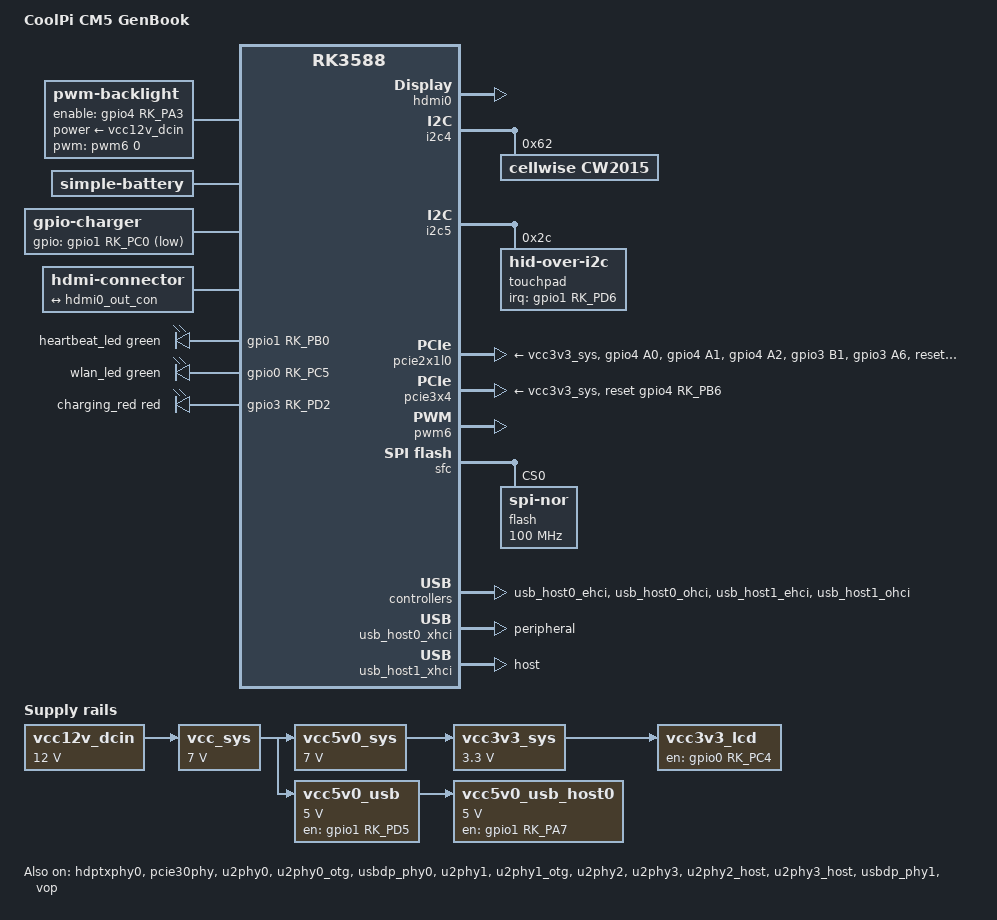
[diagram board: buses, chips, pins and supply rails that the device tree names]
// SPDX-License-Identifier: (GPL-2.0+ OR MIT)
/*
 * Copyright (c) 2024 Rockchip Electronics Co., Ltd.
 *
 */

/dts-v1/;

#include <dt-bindings/leds/common.h>
#include <dt-bindings/soc/rockchip,vop2.h>
#include "rk3588-coolpi-cm5.dtsi"

/ {
	model = "CoolPi CM5 GenBook";
	compatible = "coolpi,pi-cm5-genbook", "coolpi,pi-cm5", "rockchip,rk3588";

	backlight: backlight {
		compatible = "pwm-backlight";
		enable-gpios = <&gpio4 RK_PA3 GPIO_ACTIVE_HIGH>;
		pinctrl-names = "default";
		pinctrl-0 = <&bl_en>;
		power-supply = <&vcc12v_dcin>;
		pwms = <&pwm6 0 25000 0>;
	};

	battery: battery {
		compatible = "simple-battery";
		charge-full-design-microamp-hours = <9800000>;
		voltage-max-design-microvolt = <4350000>;
		voltage-min-design-microvolt = <3000000>;
	};

	charger: dc-charger {
		compatible = "gpio-charger";
		charger-type = "mains";
		gpios = <&gpio1 RK_PC0 GPIO_ACTIVE_LOW>;
	};

	hdmi-con {
		compatible = "hdmi-connector";
		type = "a";

		port {
			hdmi_con_in: endpoint {
				remote-endpoint = <&hdmi0_out_con>;
			};
		};
	};

	leds: leds {
		compatible = "gpio-leds";

		heartbeat_led: led-0 {
			color = <LED_COLOR_ID_GREEN>;
			function = LED_FUNCTION_STATUS;
			gpios = <&gpio1 RK_PB0 GPIO_ACTIVE_HIGH>;
			linux,default-trigger = "heartbeat";
		};

		wlan_led: led-1 {
			color = <LED_COLOR_ID_GREEN>;
			function = LED_FUNCTION_WLAN;
			gpios = <&gpio0 RK_PC5 GPIO_ACTIVE_HIGH>;
		};

		charging_red: led-2 {
			function = LED_FUNCTION_CHARGING;
			color = <LED_COLOR_ID_RED>;
			gpios = <&gpio3 RK_PD2 GPIO_ACTIVE_HIGH>;
		};
	};

	vcc12v_dcin: regulator-vcc12v-dcin {
		compatible = "regulator-fixed";
		regulator-name = "vcc12v_dcin";
		regulator-always-on;
		regulator-boot-on;
		regulator-min-microvolt = <12000000>;
		regulator-max-microvolt = <12000000>;
	};

	vcc_sys: regulator-vcc-sys {
		compatible = "regulator-fixed";
		regulator-name = "vcc_sys";
		regulator-always-on;
		regulator-boot-on;
		regulator-min-microvolt = <7000000>;
		regulator-max-microvolt = <7000000>;
		vin-supply = <&vcc12v_dcin>;
	};

	vcc5v0_sys: regulator-vcc5v0-sys {
		compatible = "regulator-fixed";
		regulator-name = "vcc5v0_sys";
		regulator-always-on;
		regulator-boot-on;
		regulator-min-microvolt = <7000000>;
		regulator-max-microvolt = <7000000>;
		vin-supply = <&vcc_sys>;
	};

	vcc3v3_sys: regulator-vcc3v3-sys {
		compatible = "regulator-fixed";
		regulator-name = "vcc3v3_sys";
		regulator-always-on;
		regulator-boot-on;
		regulator-min-microvolt = <3300000>;
		regulator-max-microvolt = <3300000>;
		vin-supply = <&vcc5v0_sys>;
	};

	vcc3v3_lcd: regulator-vcc3v3-lcd {
		compatible = "regulator-fixed";
		regulator-name = "vcc3v3_lcd";
		enable-active-high;
		gpio = <&gpio0 RK_PC4 GPIO_ACTIVE_HIGH>;
		pinctrl-names = "default";
		pinctrl-0 = <&lcdpwr_en>;
		vin-supply = <&vcc3v3_sys>;
	};

	vcc5v0_usb: regulator-vcc5v0-usb {
		compatible = "regulator-fixed";
		regulator-name = "vcc5v0_usb";
		regulator-boot-on;
		regulator-always-on;
		enable-active-high;
		regulator-min-microvolt = <5000000>;
		regulator-max-microvolt = <5000000>;
		gpio = <&gpio1 RK_PD5 GPIO_ACTIVE_HIGH>;
		pinctrl-names = "default";
		pinctrl-0 = <&usb_pwren>;
		vin-supply = <&vcc_sys>;
	};

	vcc5v0_usb_host0: vcc5v0_usb30_host: regulator-vcc5v0-usb-host {
		compatible = "regulator-fixed";
		regulator-name = "vcc5v0_host";
		regulator-boot-on;
		regulator-always-on;
		enable-active-high;
		regulator-min-microvolt = <5000000>;
		regulator-max-microvolt = <5000000>;
		gpio = <&gpio1 RK_PA7 GPIO_ACTIVE_HIGH>;
		pinctrl-names = "default";
		pinctrl-0 = <&usb_host_pwren>;
		vin-supply = <&vcc5v0_usb>;
	};
};

/* HDMI CEC is not used */
&hdmi0 {
	pinctrl-0 = <&hdmim0_tx0_hpd &hdmim0_tx0_scl &hdmim0_tx0_sda>;
	status = "okay";
};

&hdmi0_in {
	hdmi0_in_vp0: endpoint {
		remote-endpoint = <&vp0_out_hdmi0>;
	};
};

&hdmi0_out {
	hdmi0_out_con: endpoint {
		remote-endpoint = <&hdmi_con_in>;
	};
};

&hdptxphy0 {
	status = "okay";
};

&i2c4 {
	status = "okay";
	pinctrl-names = "default";
	pinctrl-0 = <&i2c4m3_xfer>;

	cw2015@62 {
		compatible = "cellwise,cw2015";
		reg = <0x62>;

		cellwise,battery-profile = /bits/ 8 <
			0x17 0x67 0x69 0x63 0x63 0x62 0x62 0x5F
			0x52 0x73 0x4C 0x5A 0x5B 0x4B 0x42 0x3A
			0x33 0x2D 0x29 0x28 0x2E 0x31 0x3C 0x49
			0x2C 0x2C 0x0C 0xCD 0x30 0x51 0x50 0x66
			0x74 0x74 0x75 0x78 0x41 0x1B 0x84 0x5F
			0x0B 0x34 0x1C 0x45 0x89 0x92 0xA0 0x13
			0x2C 0x55 0xAB 0xCB 0x80 0x5E 0x7B 0xCB
			0x2F 0x00 0x64 0xA5 0xB5 0x10 0x18 0x21
			>;

		cellwise,monitor-interval-ms = <3000>;
		monitored-battery = <&battery>;
		power-supplies = <&charger>;
	};
};

&i2c5 {
	status = "okay";
	pinctrl-names = "default";
	pinctrl-0 = <&i2c5m3_xfer>;

	touchpad: touchpad@2c {
		compatible = "hid-over-i2c";
		reg = <0x2c>;
		interrupt-parent = <&gpio1>;
		interrupts = <RK_PD6 IRQ_TYPE_LEVEL_LOW>;
		hid-descr-addr = <0x0020>;
	};
};

&gmac0 {
	status = "disabled";
};

/* M.2 E-Key */
&pcie2x1l0 {
	reset-gpios = <&gpio4 RK_PA2 GPIO_ACTIVE_HIGH>;
	vpcie3v3-supply = <&vcc3v3_sys>;
	pinctrl-names = "default";
	pinctrl-0 = <&pcie_clkreq &pcie_wake &pcie_rst &wifi_pwron &bt_pwron>;
	status = "okay";
};

&pcie2x1l2 {
	status = "disabled";
};

&pcie30phy {
	status = "okay";
};

/* M.2 M-Key ssd */
&pcie3x4 {
	reset-gpios = <&gpio4 RK_PB6 GPIO_ACTIVE_HIGH>;
	vpcie3v3-supply = <&vcc3v3_sys>;
	status = "okay";
};

&pinctrl {
	lcd {
		lcdpwr_en: lcdpwr-en {
			rockchip,pins = <0 RK_PC4 RK_FUNC_GPIO &pcfg_pull_down>;
		};

		bl_en: bl-en {
			rockchip,pins = <4 RK_PA3 RK_FUNC_GPIO &pcfg_pull_none>;
		};
	};

	usb {
		usb_pwren: usb-pwren {
			rockchip,pins = <1 RK_PD5 RK_FUNC_GPIO &pcfg_pull_up>;
		};

		usb_otg_pwren: usb-otg-pwren {
			rockchip,pins = <0 RK_PA0 RK_FUNC_GPIO &pcfg_pull_up>;
		};

		usb_host_pwren: usb-host-pwren {
			rockchip,pins = <1 RK_PA7 RK_FUNC_GPIO &pcfg_pull_up>;
		};
	};

	wifi {
		bt_pwron: bt-pwron {
			rockchip,pins = <3 RK_PA6 RK_FUNC_GPIO &pcfg_pull_up>;
		};

		pcie_clkreq: pcie-clkreq {
			rockchip,pins = <4 RK_PA0 RK_FUNC_GPIO &pcfg_pull_up>;
		};

		pcie_rst: pcie-rst {
			rockchip,pins = <4 RK_PA2 RK_FUNC_GPIO &pcfg_pull_up>;
		};

		wifi_pwron: wifi-pwron {
			rockchip,pins = <3 RK_PB1 RK_FUNC_GPIO &pcfg_pull_up>;
		};

		pcie_wake: pcie-wake {
			rockchip,pins = <4 RK_PA1 RK_FUNC_GPIO &pcfg_pull_up>;
		};
	};
};

&pwm6 {
	pinctrl-0 = <&pwm6m1_pins>;
	status = "okay";
};

&sdmmc {
	status = "disabled";
};

&sfc {
	pinctrl-names = "default";
	pinctrl-0 = <&fspim2_pins>;
	status = "okay";

	flash@0 {
		compatible = "jedec,spi-nor";
		reg = <0x0>;
		spi-max-frequency = <100000000>;
		spi-rx-bus-width = <4>;
		spi-tx-bus-width = <1>;
	};
};

&u2phy0 {
	status = "okay";
};

&u2phy0_otg {
	status = "okay";
};

&usbdp_phy0 {
	status = "okay";
};

&u2phy1 {
	status = "okay";
};

&u2phy1_otg {
	status = "okay";
};

&u2phy2 {
	status = "okay";
};

&u2phy3 {
	status = "okay";
};

&u2phy2_host {
	phy-supply = <&vcc5v0_usb_host0>;
	status = "okay";
};

&u2phy3_host {
	phy-supply = <&vcc5v0_usb>;
	status = "okay";
};

&usbdp_phy1 {
	status = "okay";
};

/* For Keypad */
&usb_host0_ehci {
	status = "okay";
};

&usb_host0_ohci {
	status = "okay";
};

/* Type C port */
&usb_host0_xhci {
	dr_mode = "peripheral";
	maximum-speed = "high-speed";
	status = "okay";
};

/* connected to a HUB for camera and BT */
&usb_host1_ehci {
	status = "okay";
};

&usb_host1_ohci {
	status = "okay";
};

/* USB A out */
&usb_host1_xhci {
	dr_mode = "host";
	status = "okay";
};

&vop {
	status = "okay";
};

&vop_mmu {
	status = "okay";
};

&vp0 {
	vp0_out_hdmi0: endpoint@ROCKCHIP_VOP2_EP_HDMI0 {
		reg = <ROCKCHIP_VOP2_EP_HDMI0>;
		remote-endpoint = <&hdmi0_in_vp0>;
	};
};
